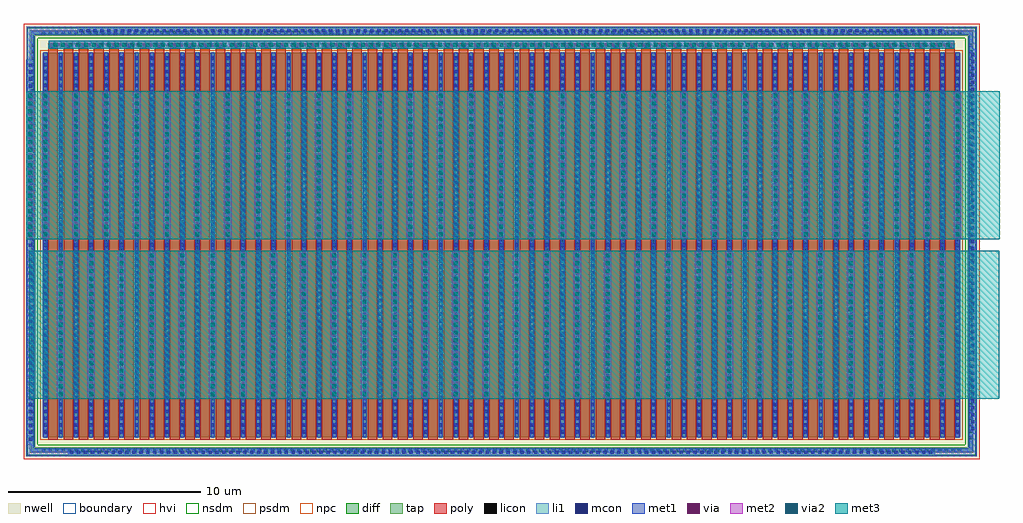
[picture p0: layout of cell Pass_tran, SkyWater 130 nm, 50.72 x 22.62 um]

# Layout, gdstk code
import gdstk
lib = gdstk.Library(unit=1e-6, precision=1e-09)
def R(c, l, rs):  # rectangles x0, y0, x1, y1
    for r in rs: c.add(gdstk.rectangle(r[:2], r[2:], *l))
def A(c, l, x, y, w, h, nx, ny, dx, dy):  # array of equal rectangles
    R(c, l, [(x+i*dx, y+j*dy, x+i*dx+w, y+j*dy+h) for i in range(nx) for j in range(ny)])
def P(c, l, *ps):  # polygons
    for p in ps: c.add(gdstk.Polygon(p, *l))
nwell = (64, 20)
diff = (65, 20)
tap = (65, 44)
poly = (66, 20)
licon = (66, 44)
li1 = (67, 20)
mcon = (67, 44)
met1 = (68, 20)
via = (68, 44)
met2 = (69, 20)
via2 = (69, 44)
met3 = (70, 20)
hvi = (75, 20)
nsdm = (93, 44)
psdm = (94, 20)
npc = (95, 20)
boundary = (235, 4)

sky130_fd_pr__pfet_g5v0d = lib.new_cell('sky130_fd_pr__pfet_g5v0d10v5_6F7NEB')
R(sky130_fd_pr__pfet_g5v0d, nwell, [(-24.845,-11.31,24.845,11.31)])
R(sky130_fd_pr__pfet_g5v0d, diff, [(-23.845,-10.18,23.845,9.82)])
R(sky130_fd_pr__pfet_g5v0d, tap, [(-24.515,-10.98,24.515,-10.69), (-24.515,-10.69,-24.225,10.69), (24.225,-10.69,24.515,10.69), (-24.515,10.69,24.515,10.98)])
A(sky130_fd_pr__pfet_g5v0d, poly, -23.555, -10.31, 0.5, 20.615, 60, 1, 0.79, 0)
A(sky130_fd_pr__pfet_g5v0d, licon, -23.885, -10.92, 0.17, 0.17, 141, 2, 0.34, 21.67)
A(sky130_fd_pr__pfet_g5v0d, licon, -24.455, -10.285, 0.17, 0.17, 1, 61, 0, 0.34)
A(sky130_fd_pr__pfet_g5v0d, licon, 24.285, -10.285, 0.17, 0.17, 1, 61, 0, 0.34)
A(sky130_fd_pr__pfet_g5v0d, licon, -23.785, -9.955, 0.17, 0.17, 61, 58, 0.79, 0.34)
A(sky130_fd_pr__pfet_g5v0d, licon, -23.39, 10.055, 0.17, 0.17, 60, 1, 0.79, 0)
A(sky130_fd_pr__pfet_g5v0d, li1, -23.785, -10.2, 0.17, 20.04, 61, 1, 0.79, 0)
A(sky130_fd_pr__pfet_g5v0d, li1, -23.555, 10.055, 0.5, 0.17, 60, 1, 0.79, 0)
R(sky130_fd_pr__pfet_g5v0d, li1, [(-24.455,-10.75,-24.285,10.75), (24.285,-10.75,24.455,10.75), (-24.455,10.75,24.455,10.92)])
P(sky130_fd_pr__pfet_g5v0d, li1, [(-24.455,-10.92),(-24.455,-10.75),(22.455,-10.75),(24.455,-10.75),(24.455,-10.92)])
A(sky130_fd_pr__pfet_g5v0d, mcon, -23.785, -9.985, 0.17, 0.17, 61, 55, 0.79, 0.36)
A(sky130_fd_pr__pfet_g5v0d, mcon, -23.39, 10.055, 0.17, 0.17, 60, 1, 0.79, 0)
A(sky130_fd_pr__pfet_g5v0d, met1, -23.815, -10.18, 0.23, 20, 61, 1, 0.79, 0)
A(sky130_fd_pr__pfet_g5v0d, met1, -23.535, 10.025, 0.46, 0.23, 60, 1, 0.79, 0)
R(sky130_fd_pr__pfet_g5v0d, hvi, [(-24.845,-11.31,24.845,11.31)])
R(sky130_fd_pr__pfet_g5v0d, nsdm, [(-24.64,-11.105,24.64,-10.565), (-24.64,-10.565,-24.1,10.565), (24.1,-10.565,24.64,10.565), (-24.64,10.565,24.64,11.105)])
R(sky130_fd_pr__pfet_g5v0d, psdm, [(-23.97,-10.305,23.97,9.945)])
A(sky130_fd_pr__pfet_g5v0d, npc, -23.49, 9.955, 0.37, 0.37, 60, 1, 0.79, 0)
R(sky130_fd_pr__pfet_g5v0d, boundary, [(-24.37,-10.835,24.37,10.835)])

via_3 = lib.new_cell('via$3')
R(via_3, via, [(0,0,0.15,0.15)])

via2_3 = lib.new_cell('via2$3')
R(via2_3, via2, [(0,0,0.2,0.2)])

via_new = lib.new_cell('via_new')
via_new.add(gdstk.FlexPath([(0,0),(47.07,0)], 0.4, ends="flush", simple_path=True, layer=68, datatype=20))  # met1
via_new.add(gdstk.FlexPath([(0,0),(47.07,0)], 0.4, ends="flush", simple_path=True, layer=69, datatype=20))  # met2
via_new.add(gdstk.FlexPath([(0,0),(47.07,0)], 0.4, ends="flush", simple_path=True, layer=70, datatype=20))  # met3
r = gdstk.Reference(via_3, (0.1,-0.075)); r.repetition = gdstk.Repetition(147, 1, v1=(0.32,0), v2=(0,0)); via_new.add(r)
r = gdstk.Reference(via2_3, (0.235,-0.1)); r.repetition = gdstk.Repetition(117, 1, v1=(0.4,0), v2=(0,0)); via_new.add(r)

via_6 = lib.new_cell('via$6')
R(via_6, via, [(0,0,0.15,0.15)])

via2_6 = lib.new_cell('via2$6')
R(via2_6, via2, [(0,0,0.2,0.2)])

via_new_2 = lib.new_cell('via_new$2')
via_new_2.add(gdstk.FlexPath([(0,0),(0.4,0)], 7.7, ends="flush", simple_path=True, layer=68, datatype=20))  # met1
via_new_2.add(gdstk.FlexPath([(0,0),(0.4,0)], 7.7, ends="flush", simple_path=True, layer=69, datatype=20))  # met2
via_new_2.add(gdstk.FlexPath([(0,0),(0.4,0)], 7.7, ends="flush", simple_path=True, layer=70, datatype=20))  # met3
r = gdstk.Reference(via_6, (0.125,-3.755)); r.repetition = gdstk.Repetition(1, 24, v1=(0,0), v2=(0,0.32)); via_new_2.add(r)
r = gdstk.Reference(via2_6, (0.1,-3.7)); r.repetition = gdstk.Repetition(1, 19, v1=(0,0), v2=(0,0.4)); via_new_2.add(r)

mcon_2 = lib.new_cell('mcon$2')
R(mcon_2, mcon, [(0,0,0.17,0.17)])

via_new_5 = lib.new_cell('via_new$5')
via_new_5.add(gdstk.FlexPath([(0,0),(0.4,0)], 20, ends="flush", simple_path=True, layer=67, datatype=20))  # li1
via_new_5.add(gdstk.FlexPath([(0,0),(0.4,0)], 20, ends="flush", simple_path=True, layer=68, datatype=20))  # met1
r = gdstk.Reference(mcon_2, (0.115,-9.805)); r.repetition = gdstk.Repetition(1, 55, v1=(0,0), v2=(0,0.36)); via_new_5.add(r)

mcon_9 = lib.new_cell('mcon$9')
R(mcon_9, mcon, [(0,0,0.17,0.17)])

via_new_3 = lib.new_cell('via_new$3')
via_new_3.add(gdstk.FlexPath([(0,0),(45,0)], 0.4, ends="flush", simple_path=True, layer=67, datatype=20))  # li1
via_new_3.add(gdstk.FlexPath([(0,0),(45,0)], 0.4, ends="flush", simple_path=True, layer=68, datatype=20))  # met1
r = gdstk.Reference(mcon_9, (0.095,-0.085)); r.repetition = gdstk.Repetition(125, 1, v1=(0.36,0), v2=(0,0)); via_new_3.add(r)

pass_tran = lib.new_cell('Pass_tran')
A(pass_tran, licon, 0.585, 11.08, 0.17, 0.17, 1, 23, 0, 0.34)
A(pass_tran, mcon, 0.585, 10.93, 0.17, 0.17, 1, 22, 0, 0.36)
R(pass_tran, met1, [(-0.322,-0.315,1.89,0.085), (-0.322,-0.315,0.085,20.282), (48.655,-0.315,49.055,1.039), (-0.315,20.196,0.085,21.985), (48.655,20.82,49.055,21.985), (-0.315,21.582,2.375,21.985), (47.292,21.586,49.055,21.985)])
P(pass_tran, met1, [(46.79,-0.315),(46.79,0.085),(49.055,0.085),(49.055,-0.063),(49.055,-0.315)],
  [(46.78,0.085),(46.78,0.085),(46.78,0.085),(46.78,0.085)])
R(pass_tran, met3, [(-0.176,2.655,50.243,10.355), (-0.15,10.955,50.248,18.655)])
pass_tran.add(gdstk.Reference(sky130_fd_pr__pfet_g5v0d, (24.37,10.835)))
pass_tran.add(gdstk.Reference(via_new, (0.835,21.059)))
pass_tran.add(gdstk.Reference(via_new_2, (24.142,14.805)))
pass_tran.add(gdstk.Reference(via_new_2, (24.142,14.805)))
pass_tran.add(gdstk.Reference(via_new_5, (-0.316,10.278)))
pass_tran.add(gdstk.Reference(via_new_5, (48.655,10.831)))
pass_tran.add(gdstk.Reference(via_new_3, (2.34,21.785)))
pass_tran.add(gdstk.Reference(via_new_3, (1.846,-0.115)))
pass_tran.add(gdstk.Reference(via_new_2, (33.649,14.805)))
pass_tran.add(gdstk.Reference(via_new_2, (35.248,14.805)))
pass_tran.add(gdstk.Reference(via_new_2, (36.826,14.805)))
pass_tran.add(gdstk.Reference(via_new_2, (38.404,14.805)))
pass_tran.add(gdstk.Reference(via_new_2, (39.982,14.805)))
pass_tran.add(gdstk.Reference(via_new_2, (41.56,14.805)))
pass_tran.add(gdstk.Reference(via_new_2, (43.129,14.805)))
pass_tran.add(gdstk.Reference(via_new_2, (44.714,14.805)))
pass_tran.add(gdstk.Reference(via_new_2, (46.29,14.804)))
pass_tran.add(gdstk.Reference(via_new_2, (47.869,14.805)))
pass_tran.add(gdstk.Reference(via_new_2, (25.72,14.805)))
pass_tran.add(gdstk.Reference(via_new_2, (25.72,14.805)))
pass_tran.add(gdstk.Reference(via_new_2, (27.337,14.805)))
pass_tran.add(gdstk.Reference(via_new_2, (28.915,14.805)))
pass_tran.add(gdstk.Reference(via_new_2, (30.493,14.805)))
pass_tran.add(gdstk.Reference(via_new_2, (32.071,14.805)))
pass_tran.add(gdstk.Reference(via_new_2, (33.649,14.805)))
pass_tran.add(gdstk.Reference(via_new_2, (35.248,14.805)))
pass_tran.add(gdstk.Reference(via_new_2, (36.826,14.805)))
pass_tran.add(gdstk.Reference(via_new_2, (38.404,14.805)))
pass_tran.add(gdstk.Reference(via_new_2, (39.982,14.805)))
pass_tran.add(gdstk.Reference(via_new_2, (41.56,14.805)))
pass_tran.add(gdstk.Reference(via_new_2, (43.129,14.805)))
pass_tran.add(gdstk.Reference(via_new_2, (44.714,14.805)))
pass_tran.add(gdstk.Reference(via_new_2, (46.29,14.804)))
pass_tran.add(gdstk.Reference(via_new_2, (47.869,14.805)))
pass_tran.add(gdstk.Reference(via_new_2, (27.337,14.805)))
pass_tran.add(gdstk.Reference(via_new_2, (28.915,14.805)))
pass_tran.add(gdstk.Reference(via_new_2, (30.493,14.805)))
pass_tran.add(gdstk.Reference(via_new_2, (32.071,14.805)))
pass_tran.add(gdstk.Reference(via_new_2, (22.595,14.805)))
pass_tran.add(gdstk.Reference(via_new_2, (5.206,14.805)))
pass_tran.add(gdstk.Reference(via_new_2, (6.784,14.805)))
pass_tran.add(gdstk.Reference(via_new_2, (8.362,14.805)))
pass_tran.add(gdstk.Reference(via_new_2, (9.94,14.805)))
pass_tran.add(gdstk.Reference(via_new_2, (11.518,14.805)))
pass_tran.add(gdstk.Reference(via_new_2, (13.096,14.805)))
pass_tran.add(gdstk.Reference(via_new_2, (14.674,14.805)))
pass_tran.add(gdstk.Reference(via_new_2, (16.252,14.805)))
pass_tran.add(gdstk.Reference(via_new_2, (17.849,14.805)))
pass_tran.add(gdstk.Reference(via_new_2, (21.009,14.805)))
pass_tran.add(gdstk.Reference(via_new_2, (21.009,14.805)))
pass_tran.add(gdstk.Reference(via_new_2, (0.472,14.805)))
pass_tran.add(gdstk.Reference(via_new_2, (0.472,14.805)))
pass_tran.add(gdstk.Reference(via_new_2, (2.05,14.805)))
pass_tran.add(gdstk.Reference(via_new_2, (2.05,14.805)))
pass_tran.add(gdstk.Reference(via_new_2, (2.05,14.805)))
pass_tran.add(gdstk.Reference(via_new_2, (3.628,14.805)))
pass_tran.add(gdstk.Reference(via_new_2, (5.206,14.805)))
pass_tran.add(gdstk.Reference(via_new_2, (6.784,14.805)))
pass_tran.add(gdstk.Reference(via_new_2, (8.362,14.805)))
pass_tran.add(gdstk.Reference(via_new_2, (9.94,14.805)))
pass_tran.add(gdstk.Reference(via_new_2, (11.518,14.805)))
pass_tran.add(gdstk.Reference(via_new_2, (13.096,14.805)))
pass_tran.add(gdstk.Reference(via_new_2, (14.674,14.805)))
pass_tran.add(gdstk.Reference(via_new_2, (16.252,14.805)))
pass_tran.add(gdstk.Reference(via_new_2, (17.849,14.805)))
pass_tran.add(gdstk.Reference(via_new_2, (22.595,14.805)))
pass_tran.add(gdstk.Reference(via_new_2, (19.429,14.805)))
pass_tran.add(gdstk.Reference(via_new_2, (19.429,14.805)))
pass_tran.add(gdstk.Reference(via_new_2, (2.05,14.805)))
pass_tran.add(gdstk.Reference(via_new_2, (3.628,14.805)))
pass_tran.add(gdstk.Reference(via_new_2, (0.472,14.805)))
pass_tran.add(gdstk.Reference(via_new_2, (0.472,14.805)))
pass_tran.add(gdstk.Reference(via_new_2, (-0.32,14.805)))
pass_tran.add(gdstk.Reference(via_new_2, (-0.32,14.805)))
pass_tran.add(gdstk.Reference(via_new_2, (-0.32,14.805)))
pass_tran.add(gdstk.Reference(via_new_2, (-0.32,14.805)))
pass_tran.add(gdstk.Reference(via_new_2, (12.313,6.505)))
pass_tran.add(gdstk.Reference(via_new_2, (13.892,6.505)))
pass_tran.add(gdstk.Reference(via_new_2, (15.471,6.505)))
pass_tran.add(gdstk.Reference(via_new_2, (17.05,6.505)))
pass_tran.add(gdstk.Reference(via_new_2, (18.629,6.505)))
pass_tran.add(gdstk.Reference(via_new_2, (20.208,6.505)))
pass_tran.add(gdstk.Reference(via_new_2, (21.787,6.505)))
pass_tran.add(gdstk.Reference(via_new_2, (23.366,6.505)))
pass_tran.add(gdstk.Reference(via_new_2, (2.839,6.505)))
pass_tran.add(gdstk.Reference(via_new_2, (2.839,6.505)))
pass_tran.add(gdstk.Reference(via_new_2, (1.26,6.505)))
pass_tran.add(gdstk.Reference(via_new_2, (2.839,6.505)))
pass_tran.add(gdstk.Reference(via_new_2, (1.26,6.505)))
pass_tran.add(gdstk.Reference(via_new_2, (4.418,6.505)))
pass_tran.add(gdstk.Reference(via_new_2, (5.997,6.505)))
pass_tran.add(gdstk.Reference(via_new_2, (7.576,6.505)))
pass_tran.add(gdstk.Reference(via_new_2, (9.155,6.505)))
pass_tran.add(gdstk.Reference(via_new_2, (10.734,6.505)))
pass_tran.add(gdstk.Reference(via_new_2, (12.313,6.505)))
pass_tran.add(gdstk.Reference(via_new_2, (13.892,6.505)))
pass_tran.add(gdstk.Reference(via_new_2, (15.471,6.505)))
pass_tran.add(gdstk.Reference(via_new_2, (17.05,6.505)))
pass_tran.add(gdstk.Reference(via_new_2, (18.629,6.505)))
pass_tran.add(gdstk.Reference(via_new_2, (20.208,6.505)))
pass_tran.add(gdstk.Reference(via_new_2, (21.787,6.505)))
pass_tran.add(gdstk.Reference(via_new_2, (23.366,6.505)))
pass_tran.add(gdstk.Reference(via_new_2, (2.839,6.505)))
pass_tran.add(gdstk.Reference(via_new_2, (4.418,6.505)))
pass_tran.add(gdstk.Reference(via_new_2, (5.997,6.505)))
pass_tran.add(gdstk.Reference(via_new_2, (7.576,6.505)))
pass_tran.add(gdstk.Reference(via_new_2, (9.155,6.505)))
pass_tran.add(gdstk.Reference(via_new_2, (10.734,6.505)))
pass_tran.add(gdstk.Reference(via_new_2, (39.156,6.505)))
pass_tran.add(gdstk.Reference(via_new_2, (40.735,6.505)))
pass_tran.add(gdstk.Reference(via_new_2, (42.314,6.505)))
pass_tran.add(gdstk.Reference(via_new_2, (43.893,6.505)))
pass_tran.add(gdstk.Reference(via_new_2, (45.472,6.505)))
pass_tran.add(gdstk.Reference(via_new_2, (47.051,6.505)))
pass_tran.add(gdstk.Reference(via_new_2, (24.945,6.505)))
pass_tran.add(gdstk.Reference(via_new_2, (26.524,6.505)))
pass_tran.add(gdstk.Reference(via_new_2, (28.103,6.505)))
pass_tran.add(gdstk.Reference(via_new_2, (24.945,6.505)))
pass_tran.add(gdstk.Reference(via_new_2, (26.524,6.505)))
pass_tran.add(gdstk.Reference(via_new_2, (28.103,6.505)))
pass_tran.add(gdstk.Reference(via_new_2, (29.682,6.505)))
pass_tran.add(gdstk.Reference(via_new_2, (31.261,6.505)))
pass_tran.add(gdstk.Reference(via_new_2, (32.84,6.505)))
pass_tran.add(gdstk.Reference(via_new_2, (34.419,6.505)))
pass_tran.add(gdstk.Reference(via_new_2, (35.998,6.505)))
pass_tran.add(gdstk.Reference(via_new_2, (37.577,6.505)))
pass_tran.add(gdstk.Reference(via_new_2, (39.156,6.505)))
pass_tran.add(gdstk.Reference(via_new_2, (40.735,6.505)))
pass_tran.add(gdstk.Reference(via_new_2, (42.314,6.505)))
pass_tran.add(gdstk.Reference(via_new_2, (43.893,6.505)))
pass_tran.add(gdstk.Reference(via_new_2, (45.472,6.505)))
pass_tran.add(gdstk.Reference(via_new_2, (47.051,6.505)))
pass_tran.add(gdstk.Reference(via_new_2, (29.682,6.505)))
pass_tran.add(gdstk.Reference(via_new_2, (31.261,6.505)))
pass_tran.add(gdstk.Reference(via_new_2, (32.84,6.505)))
pass_tran.add(gdstk.Reference(via_new_2, (34.419,6.505)))
pass_tran.add(gdstk.Reference(via_new_2, (35.998,6.505)))
pass_tran.add(gdstk.Reference(via_new_2, (37.577,6.505)))

lib.write_gds('Pass_tran.gds')
